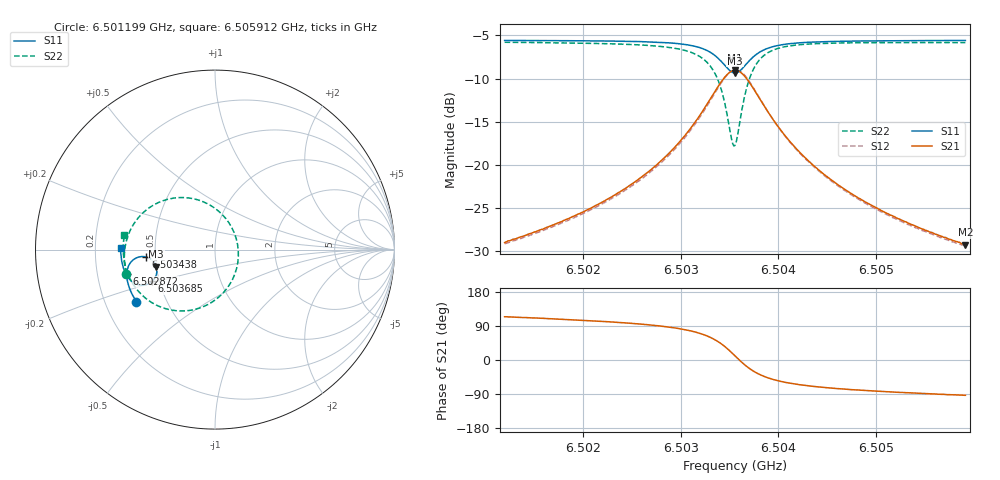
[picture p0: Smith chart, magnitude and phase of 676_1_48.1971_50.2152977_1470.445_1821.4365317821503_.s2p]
#  HZ  S  RI  R  50.00
! Rohde & Schwarz Vector Network Analyzer
! Rohde-Schwarz,ZNB20-2Port,1311601062101988,3.16
! Created: UTC 3/20/2024, 12:06:20 PM
! freq[Hz]  re:S11  im:S11  re:S21  im:S21  re:S12  im:S12  re:S22  im:S22
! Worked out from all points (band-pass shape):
!   401 points, 6.501199 GHz to 6.505912 GHz, reference 50 ohm
!   highest |S21| = -9.04 dB at 6.503556 GHz (marker M1); lowest = -29.2 dB at 6.505912 GHz (marker M2)
!   |S21| within 3 dB of the highest: 6.503321 GHz to 6.503793 GHz (471.5 kHz wide, 0.00725 % of centre)
!   lowest |S11| = -9.3 dB at 6.503556 GHz (marker M3), VSWR 2.03, Z = 25 - j5.4 ohm
!   |S11| at or under -10 dB: nowhere
!   |S22| runs from -17.8 to -5.8 dB; largest |S21 - S12| = 0.014
!   S11 on the Smith chart (normalised r, x): 6.501199 GHz: 0.34, -0.27; 6.502872 GHz: 0.33, -0.12; 6.503438 GHz: 0.44, -0.04; 6.503685 GHz: 0.46, -0.19; 6.505912 GHz: 0.31, +0.01
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6.5011991e9  -0.4384 -0.2905  -0.0146 0.0325  -0.0127 0.0327  -0.4959 -0.1332
6.5019886e9  -0.4704 -0.23  -0.0137 0.0513  -0.0109 0.0508  -0.5052 -0.0455
6.5024246e9  -0.4845 -0.1898  -0.0103 0.0719  -0.0067 0.0707  -0.4998 0.0204
6.5027781e9  -0.4916 -0.1484  -0.000197 0.103  0.00409 0.1004  -0.4771 0.0966
6.5028723e9  -0.4917 -0.1352  0.00565 0.1155  0.0101 0.1122  -0.464 0.1234
6.5030726e9  -0.4857 -0.1005  0.0309 0.1523  0.0353 0.1471  -0.4121 0.194
6.5032141e9  -0.4689 -0.0702  0.0725 0.1871  0.0759 0.1805  -0.3318 0.2539
6.5033437e9  -0.4312 -0.0434  0.1527 0.2134  0.1541 0.206  -0.1861 0.2899
6.5034379e9  -0.3829 -0.0415  0.2475 0.1957  0.2482 0.1897  -0.022 0.2445
6.5035204e9  -0.3383 -0.0724  0.3287 0.1179  0.3316 0.1122  0.1079 0.0914
6.5035558e9  -0.3271 -0.0957  0.3469 0.067  0.3509 0.06  0.1298 -0.00444
6.5035793e9  -0.3241 -0.1127  0.3503 0.0309  0.3547 0.0224  0.1273 -0.0708
6.5036147e9  -0.3264 -0.1379  0.3426 -0.0212  0.3462 -0.0321  0.0987 -0.164
6.5036854e9  -0.3497 -0.1768  0.2936 -0.1008  0.2931 -0.1142  -0.0169 -0.2929
6.5037797e9  -0.3923 -0.1975  0.2115 -0.1457  0.2057 -0.1575  -0.1839 -0.3419
6.5038504e9  -0.4196 -0.1973  0.162 -0.151  0.1541 -0.1601  -0.277 -0.3287
6.5039329e9  -0.4434 -0.19  0.1196 -0.1446  0.1113 -0.151  -0.3512 -0.2957
6.5040978e9  -0.4734 -0.1686  0.0697 -0.1225  0.0624 -0.1254  -0.4322 -0.2259
6.5043453e9  -0.4961 -0.1373  0.0356 -0.0943  0.03 -0.095  -0.4812 -0.1456
6.504687e9  -0.5112 -0.0999  0.0162 -0.0699  0.0121 -0.0696  -0.5043 -0.0709
6.5051348e9  -0.5208 -0.0573  0.0054 -0.0514  0.00273 -0.0507  -0.5113 -0.00295
6.5059125e9  -0.5259 0.00953  -0.00191 -0.0345  -0.00362 -0.0337  -0.5046 0.0832
